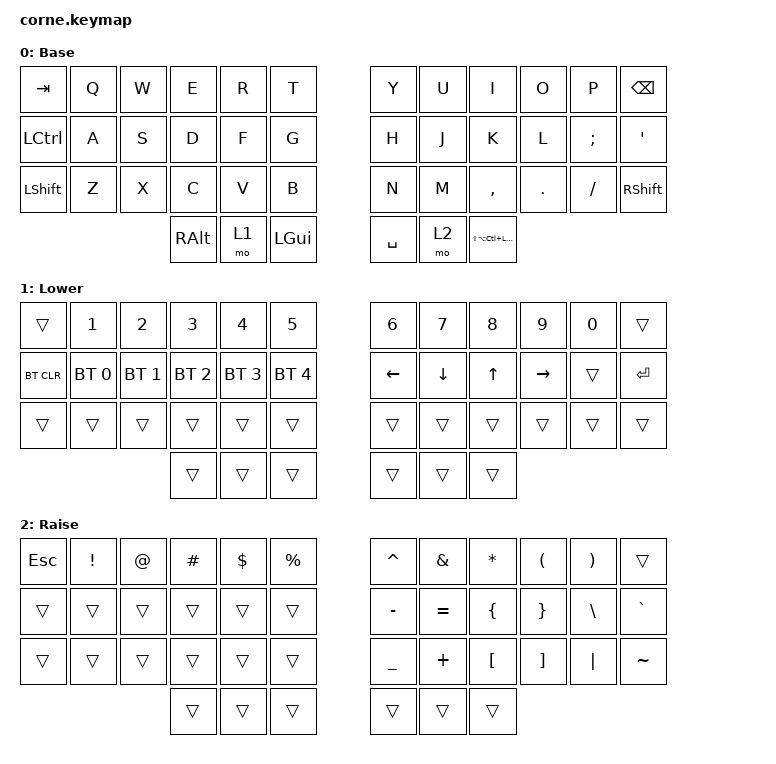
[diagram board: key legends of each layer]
/*
 * Copyright (c) 2020 The ZMK Contributors
 *
 * SPDX-License-Identifier: MIT
 */

#include <behaviors.dtsi>
#include <dt-bindings/zmk/bt.h>
#include <dt-bindings/zmk/keys.h>

/ {
    combos {
        compatible = "zmk,combos";

        sd_esc {
            bindings = <&kp ESC>;
            key-positions = <14 15>;
        };

        kl_enter {
            bindings = <&kp ENTER>;
            key-positions = <20 21>;
        };

        jk_esc {
            bindings = <&kp ESCAPE>;
            key-positions = <19 20>;
        };
    };

    keymap {
        compatible = "zmk,keymap";

        default_layer {
            // -----------------------------------------------------------------------------------------
            // |  TAB |  Q  |  W  |  E  |  R  |  T  |   |  Y  |  U   |  I  |  O  |  P  | BKSP |
            // | CTRL |  A  |  S  |  D  |  F  |  G  |   |  H  |  J   |  K  |  L  |  ;  |  '   |
            // | SHFT |  Z  |  X  |  C  |  V  |  B  |   |  N  |  M   |  ,  |  .  |  /  | ESC  |
            //                    | GUI | LWR | SPC |   | ENT | RSE  | ALT |

            display-name = "Base";
            bindings = <
&kp TAB    &kp Q  &kp W  &kp E     &kp R  &kp T           &kp Y      &kp U  &kp I                 &kp O    &kp P     &kp BSPC
&kp LCTRL  &kp A  &kp S  &kp D     &kp F  &kp G           &kp H      &kp J  &kp K                 &kp L    &kp SEMI  &kp SQT
&kp LSHFT  &kp Z  &kp X  &kp C     &kp V  &kp B           &kp N      &kp M  &kp COMMA             &kp DOT  &kp FSLH  &kp RIGHT_SHIFT
                         &kp RALT  &mo 1  &kp LEFT_GUI    &kp SPACE  &mo 2  &kp LS(LA(LC(LGUI)))
            >;
        };

        lower_layer {
            // -----------------------------------------------------------------------------------------
            // |  TAB |  1  |  2  |  3  |  4  |  5  |   |  6  |  7  |  8  |  9  |  0  | BKSP |
            // | BTCLR| BT1 | BT2 | BT3 | BT4 | BT5 |   | LFT | DWN |  UP | RGT |     |      |
            // | SHFT |     |     |     |     |     |   |     |     |     |     |     |      |
            //                    | GUI |     | SPC |   | ENT |     | ALT |

            display-name = "Lower";
            bindings = <
&trans      &kp N1        &kp N2        &kp N3        &kp N4        &kp N5          &kp N6    &kp N7    &kp N8  &kp N9     &kp N0  &trans
&bt BT_CLR  &bt BT_SEL 0  &bt BT_SEL 1  &bt BT_SEL 2  &bt BT_SEL 3  &bt BT_SEL 4    &kp LEFT  &kp DOWN  &kp UP  &kp RIGHT  &trans  &kp ENTER
&trans      &trans        &trans        &trans        &trans        &trans          &trans    &trans    &trans  &trans     &trans  &trans
                                        &trans        &trans        &trans          &trans    &trans    &trans
            >;
        };

        raise_layer {
            // -----------------------------------------------------------------------------------------
            // |  TAB |  !  |  @  |  #  |  $  |  %  |   |  ^  |  &  |  *  |  (  |  )  | BKSP |
            // | CTRL |     |     |     |     |     |   |  -  |  =  |  [  |  ]  |  \  |  `   |
            // | SHFT |     |     |     |     |     |   |  _  |  +  |  {  |  }  | "|" |  ~   |
            //                    | GUI |     | SPC |   | ENT |     | ALT |

            display-name = "Raise";
            bindings = <
&kp ESCAPE  &kp EXCL  &kp AT  &kp HASH  &kp DLLR  &kp PRCNT    &kp CARET  &kp AMPS   &kp ASTERISK      &kp LPAR           &kp RPAR  &trans
&trans      &trans    &trans  &trans    &trans    &trans       &kp MINUS  &kp EQUAL  &kp LEFT_BRACE    &kp RBRC           &kp BSLH  &kp GRAVE
&trans      &trans    &trans  &trans    &trans    &trans       &kp UNDER  &kp PLUS   &kp LEFT_BRACKET  &kp RIGHT_BRACKET  &kp PIPE  &kp TILDE
                              &trans    &trans    &trans       &trans     &trans     &trans
            >;
        };

        extra_1 { status = "reserved"; };

        extra_2 { status = "reserved"; };

        extra_3 { status = "reserved"; };
    };
};
